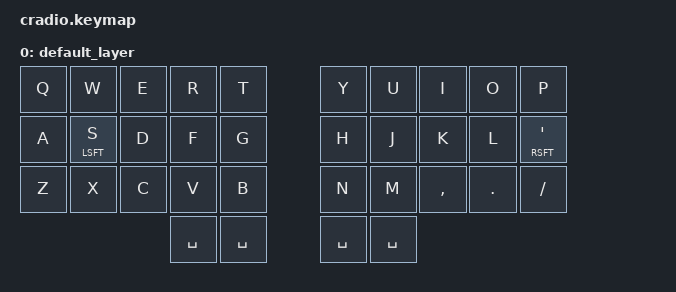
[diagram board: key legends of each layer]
/*
 * Copyright (c) 2020 The ZMK Contributors
 *
 * SPDX-License-Identifier: MIT
 */

#include <behaviors.dtsi>
#include <dt-bindings/zmk/keys.h>
#include <dt-bindings/zmk/bt.h>


&mt {
  //  flavor = "tap-preferred";
   // tapping_term_ms = <200>;
};

/ { 

    combos {
        compatible = "zmk,combos";
        combo_esc {
            timeout-ms = <50>;
            key-positions = <0 1>;
            bindings = <&kp ESC>;
        };
        
         combo_tab {
            timeout-ms = <50>;
            key-positions = <10 11>;
            bindings = <&kp TAB>;
        };
        
            combo_ralt {
            timeout-ms = <50>;
            key-positions = <17 16>;
            bindings = <&kp RALT>;
        };
        
                    combo_lalt {
            timeout-ms = <50>;
            key-positions = <11 12>;
            bindings = <&kp LALT>;
        };
        
                           combo_lgui {
            timeout-ms = <50>;
            key-positions = <12 13>;
            bindings = <&kp LGUI>;
        };
        
        
           combo_rgui {
            timeout-ms = <50>;
            key-positions = <17 18>;
            bindings = <&kp RGUI>;
        };
        

        
    };

        keymap {
                compatible = "zmk,keymap";
                
       		default_layer {
		bindings = <
			&kp Q  &kp W	    &kp E &kp R   &kp T 		&kp Y   &kp U  &kp I 	&kp O	&kp P 
			&kp A  &mt LSFT S &kp D &kp F   &kp G 		&kp H   &kp J  &kp K	&kp L	&mt RSFT QUOT
			&kp Z  &kp X	    &kp C &kp V   &kp B		  &kp N   &kp M  &kp CMMA	&kp DOT &kp FSLH
          				  	        &kp SPC &kp SPC		&kp SPC &kp SPC
		>;
		};

        
	};
};
